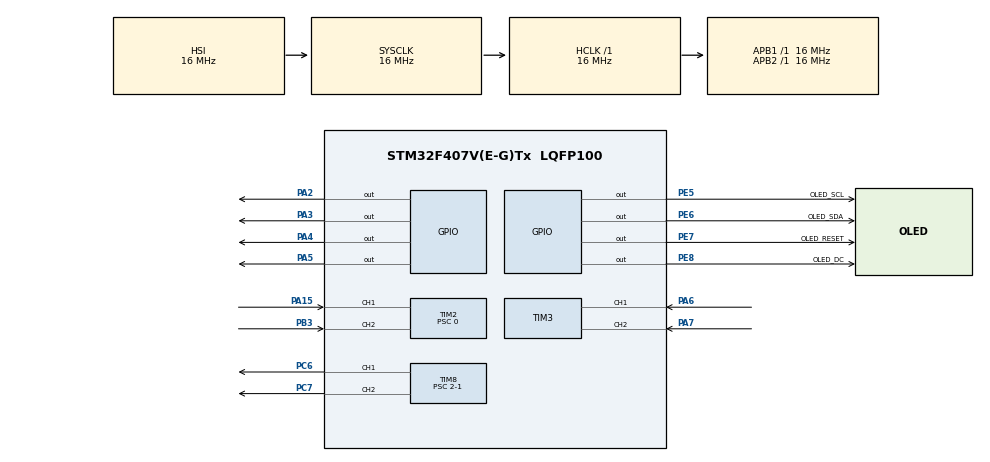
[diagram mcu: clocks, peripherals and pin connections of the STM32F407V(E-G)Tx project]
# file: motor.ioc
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FREERTOS.Tasks01=defaultTask,24,128,StartDefaultTask,Default,NULL,Dynamic,NULL,NULL;MotorTask,9,128,motor_task,Default,NULL,Dynamic,NULL,NULL;EncoderTask,10,128,encoder_task,Default,NULL,Dynamic,NULL,NULL;OLEDTask,8,128,oled_task,Default,NULL,Dynamic,NULL,NULL
FREERTOS.configUSE_NEWLIB_REENTRANT=1
Mcu.Family=STM32F4
Mcu.Name=STM32F407V(E-G)Tx
Mcu.Package=LQFP100
NVIC.PriorityGroup=NVIC_PRIORITYGROUP_4
NVIC.TIM6_DAC_IRQn=true\:15\:0\:false\:false\:true\:false\:false\:true
NVIC.TimeBase=TIM6_DAC_IRQn
NVIC.TimeBaseIP=TIM6
PA15.Signal=S_TIM2_CH1_ETR
PA2.GPIO_Speed=GPIO_SPEED_FREQ_HIGH
PA2.Signal=GPIO_Output
PA3.GPIO_Speed=GPIO_SPEED_FREQ_HIGH
PA3.Signal=GPIO_Output
PA4.Signal=GPIO_Output
PA5.Signal=GPIO_Output
PA6.Signal=S_TIM3_CH1
PA7.Signal=S_TIM3_CH2
PB3.Signal=S_TIM2_CH2
PC6.Signal=S_TIM8_CH1
PC7.Signal=S_TIM8_CH2
PE5.GPIO_Label=OLED_SCL
PE5.Signal=GPIO_Output
PE6.GPIO_Label=OLED_SDA
PE6.Signal=GPIO_Output
PE7.GPIO_Label=OLED_RESET
PE7.Signal=GPIO_Output
PE8.GPIO_Label=OLED_DC
PE8.Signal=GPIO_Output
ProjectManager.HeapSize=0x200
ProjectManager.StackSize=0x400
ProjectManager.TargetToolchain=STM32CubeIDE
RCC.AHBFreq_Value=16000000
RCC.APB1Freq_Value=16000000
RCC.APB2Freq_Value=16000000
RCC.CortexFreq_Value=16000000
RCC.HSE_VALUE=25000000
RCC.HSI_VALUE=16000000
RCC.LSE_VALUE=32768
RCC.SYSCLKFreq_VALUE=16000000
RCC.VCOOutputFreq_Value=192000000
SH.S_TIM2_CH1_ETR.0=TIM2_CH1,Encoder_Interface
SH.S_TIM2_CH2.0=TIM2_CH2,Encoder_Interface
SH.S_TIM3_CH1.0=TIM3_CH1,Encoder_Interface
SH.S_TIM3_CH2.0=TIM3_CH2,Encoder_Interface
SH.S_TIM8_CH1.0=TIM8_CH1,PWM Generation1 CH1
SH.S_TIM8_CH2.0=TIM8_CH2,PWM Generation2 CH2
TIM2.AutoReloadPreload=TIM_AUTORELOAD_PRELOAD_ENABLE
TIM2.EncoderMode=TIM_ENCODERMODE_TI12
TIM2.IC1Filter=10
TIM2.IC2Filter=10
TIM2.Period=65535
TIM2.Prescaler=0
TIM3.AutoReloadPreload=TIM_AUTORELOAD_PRELOAD_ENABLE
TIM3.EncoderMode=TIM_ENCODERMODE_TI12
TIM3.IC1Filter=10
TIM3.IC2Filter=10
TIM8.AutoReloadPreload=TIM_AUTORELOAD_PRELOAD_ENABLE
TIM8.Channel-PWM\ Generation1\ CH1=TIM_CHANNEL_1
TIM8.Channel-PWM\ Generation2\ CH2=TIM_CHANNEL_2
TIM8.Period=8000-1
TIM8.Prescaler=2-1
VP_FREERTOS_VS_CMSIS_V2.Mode=CMSIS_V2
VP_SYS_VS_tim6.Mode=TIM6
VP_TIM8_VS_ClockSourceINT.Mode=Internal
board=custom

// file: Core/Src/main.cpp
/* USER CODE BEGIN Header */
/**
  ******************************************************************************
  * @file           : main.c
  * @brief          : Main program body
  ******************************************************************************
  * @attention
  *
  * Copyright (c) 2022 STMicroelectronics.
  * All rights reserved.
  *
  * This software is licensed under terms that can be found in the LICENSE file
  * in the root directory of this software component.
  * If no LICENSE file comes with this software, it is provided AS-IS.
  *
  ******************************************************************************
  */
/* USER CODE END Header */
#include "main.h"
#include "cmsis_os.h"

/* USER CODE BEGIN PM */
#include "string.h"
#include "stdio.h"
#include "math.h"
#include "PIDController.h"
#include "oled.h"

volatile int encoder_A_ticks_delta = 0;
volatile int encoder_A_count_delta = 0;

volatile int encoder_B_ticks_delta;
volatile int encoder_B_count_delta;

// PID Constants
double consKp=2, consKi=0.02, consKd=0.25;

volatile double setpoint_right = 0;
volatile double output_right = 0;
volatile double input_right = 0;
PID rightMotorPID(&input_right, &output_right, &setpoint_right,
		consKp, consKi, consKd, PID_DIRECT);

volatile double setpoint_left = 0;
volatile double output_left = 0;
volatile double input_left = 0;
PID leftMotorPID(&input_left, &output_left, &setpoint_left,
		consKp, consKi, consKd, PID_DIRECT);

/* USER CODE END PM */

TIM_HandleTypeDef htim2;
TIM_HandleTypeDef htim3;
TIM_HandleTypeDef htim8;

/* Definitions for defaultTask */
osThreadId_t defaultTaskHandle;
const osThreadAttr_t defaultTask_attributes = {
  .name = "defaultTask",
  .stack_size = 128 * 4,
  .priority = (osPriority_t) osPriorityNormal,
};
/* Definitions for MotorTask */
osThreadId_t MotorTaskHandle;
const osThreadAttr_t MotorTask_attributes = {
  .name = "MotorTask",
  .stack_size = 128 * 4,
  .priority = (osPriority_t) osPriorityLow1,
};
/* Definitions for EncoderTask */
osThreadId_t EncoderTaskHandle;
const osThreadAttr_t EncoderTask_attributes = {
  .name = "EncoderTask",
  .stack_size = 128 * 4,
  .priority = (osPriority_t) osPriorityLow1,
};
/* Definitions for OLEDTask */
osThreadId_t OLEDTaskHandle;
const osThreadAttr_t OLEDTask_attributes = {
  .name = "OLEDTask",
  .stack_size = 128 * 4,
  .priority = (osPriority_t) osPriorityLow,
};
/* USER CODE BEGIN PV */
//volatile int encoder_A_reading;
/* USER CODE END PV */

void SystemClock_Config(void);
static void MX_GPIO_Init(void);
static void MX_TIM8_Init(void);
static void MX_TIM2_Init(void);
static void MX_TIM3_Init(void);
void StartDefaultTask(void *argument);
void motor_task(void *argument);
void encoder_task(void *argument);
void oled_task(void *argument);

/* USER CODE BEGIN 0 */
uint32_t calculate_RPM(int encoder_val, uint32_t ticks)
{
	float number_of_rev = encoder_val / 11;
	float time_taken_s = ticks / 1000;
	return (uint32_t)((number_of_rev / time_taken_s) * 60);
}
/* USER CODE END 0 */

int main(void)
{

  /* MCU Configuration--------------------------------------------------------*/

  /* Reset of all peripherals, Initializes the Flash interface and the Systick. */
  HAL_Init();

  /* Configure the system clock */
  SystemClock_Config();

  /* Initialize all configured peripherals */
  MX_GPIO_Init();
  MX_TIM8_Init();
  MX_TIM2_Init();
  MX_TIM3_Init();

  /* Init scheduler */
  osKernelInitialize();

  /* Create the thread(s) */
  /* creation of defaultTask */
  defaultTaskHandle = osThreadNew(StartDefaultTask, NULL, &defaultTask_attributes);

  /* creation of MotorTask */
//  MotorTaskHandle = osThreadNew(motor_task, NULL, &MotorTask_attributes);

  /* creation of EncoderTask */
  EncoderTaskHandle = osThreadNew(encoder_task, NULL, &EncoderTask_attributes);

  /* creation of OLEDTask */
  OLEDTaskHandle = osThreadNew(oled_task, NULL, &OLEDTask_attributes);

  /* Start scheduler */
  osKernelStart();

  /* We should never get here as control is now taken by the scheduler */
  /* Infinite loop */
  while (1)
  {

  }
}

void SystemClock_Config(void)
{
  RCC_OscInitTypeDef RCC_OscInitStruct = {0};
  RCC_ClkInitTypeDef RCC_ClkInitStruct = {0};

  /** Configure the main internal regulator output voltage
  */
  __HAL_RCC_PWR_CLK_ENABLE();
  __HAL_PWR_VOLTAGESCALING_CONFIG(PWR_REGULATOR_VOLTAGE_SCALE1);
  /** Initializes the RCC Oscillators according to the specified parameters
  * in the RCC_OscInitTypeDef structure.
  */
  RCC_OscInitStruct.OscillatorType = RCC_OSCILLATORTYPE_HSI;
  RCC_OscInitStruct.HSIState = RCC_HSI_ON;
  RCC_OscInitStruct.HSICalibrationValue = RCC_HSICALIBRATION_DEFAULT;
  RCC_OscInitStruct.PLL.PLLState = RCC_PLL_NONE;
  if (HAL_RCC_OscConfig(&RCC_OscInitStruct) != HAL_OK)
  {
    Error_Handler();
  }
  /** Initializes the CPU, AHB and APB buses clocks
  */
  RCC_ClkInitStruct.ClockType = RCC_CLOCKTYPE_HCLK|RCC_CLOCKTYPE_SYSCLK
                              |RCC_CLOCKTYPE_PCLK1|RCC_CLOCKTYPE_PCLK2;
  RCC_ClkInitStruct.SYSCLKSource = RCC_SYSCLKSOURCE_HSI;
  RCC_ClkInitStruct.AHBCLKDivider = RCC_SYSCLK_DIV1;
  RCC_ClkInitStruct.APB1CLKDivider = RCC_HCLK_DIV1;
  RCC_ClkInitStruct.APB2CLKDivider = RCC_HCLK_DIV1;

  if (HAL_RCC_ClockConfig(&RCC_ClkInitStruct, FLASH_LATENCY_0) != HAL_OK)
  {
    Error_Handler();
  }
}

static void MX_TIM2_Init(void)
{

  TIM_Encoder_InitTypeDef sConfig = {0};
  TIM_MasterConfigTypeDef sMasterConfig = {0};

  htim2.Instance = TIM2;
  htim2.Init.Prescaler = 0;
  htim2.Init.CounterMode = TIM_COUNTERMODE_UP;
  htim2.Init.Period = 65535;
  htim2.Init.ClockDivision = TIM_CLOCKDIVISION_DIV1;
  htim2.Init.AutoReloadPreload = TIM_AUTORELOAD_PRELOAD_ENABLE;
  sConfig.EncoderMode = TIM_ENCODERMODE_TI12;
  sConfig.IC1Polarity = TIM_ICPOLARITY_RISING;
  sConfig.IC1Selection = TIM_ICSELECTION_DIRECTTI;
  sConfig.IC1Prescaler = TIM_ICPSC_DIV1;
  sConfig.IC1Filter = 10;
  sConfig.IC2Polarity = TIM_ICPOLARITY_RISING;
  sConfig.IC2Selection = TIM_ICSELECTION_DIRECTTI;
  sConfig.IC2Prescaler = TIM_ICPSC_DIV1;
  sConfig.IC2Filter = 10;
  if (HAL_TIM_Encoder_Init(&htim2, &sConfig) != HAL_OK)
  {
    Error_Handler();
  }
  sMasterConfig.MasterOutputTrigger = TIM_TRGO_RESET;
  sMasterConfig.MasterSlaveMode = TIM_MASTERSLAVEMODE_DISABLE;
  if (HAL_TIMEx_MasterConfigSynchronization(&htim2, &sMasterConfig) != HAL_OK)
  {
    Error_Handler();
  }

}

static void MX_TIM3_Init(void)
{

  TIM_Encoder_InitTypeDef sConfig = {0};
  TIM_MasterConfigTypeDef sMasterConfig = {0};

  htim3.Instance = TIM3;
  htim3.Init.Prescaler = 0;
  htim3.Init.CounterMode = TIM_COUNTERMODE_UP;
  htim3.Init.Period = 65535;
  htim3.Init.ClockDivision = TIM_CLOCKDIVISION_DIV1;
  htim3.Init.AutoReloadPreload = TIM_AUTORELOAD_PRELOAD_ENABLE;
  sConfig.EncoderMode = TIM_ENCODERMODE_TI12;
  sConfig.IC1Polarity = TIM_ICPOLARITY_RISING;
  sConfig.IC1Selection = TIM_ICSELECTION_DIRECTTI;
  sConfig.IC1Prescaler = TIM_ICPSC_DIV1;
  sConfig.IC1Filter = 10;
  sConfig.IC2Polarity = TIM_ICPOLARITY_RISING;
  sConfig.IC2Selection = TIM_ICSELECTION_DIRECTTI;
  sConfig.IC2Prescaler = TIM_ICPSC_DIV1;
  sConfig.IC2Filter = 10;
  if (HAL_TIM_Encoder_Init(&htim3, &sConfig) != HAL_OK)
  {
    Error_Handler();
  }
  sMasterConfig.MasterOutputTrigger = TIM_TRGO_RESET;
  sMasterConfig.MasterSlaveMode = TIM_MASTERSLAVEMODE_DISABLE;
  if (HAL_TIMEx_MasterConfigSynchronization(&htim3, &sMasterConfig) != HAL_OK)
  {
    Error_Handler();
  }

}

static void MX_TIM8_Init(void)
{

  TIM_ClockConfigTypeDef sClockSourceConfig = {0};
  TIM_MasterConfigTypeDef sMasterConfig = {0};
  TIM_OC_InitTypeDef sConfigOC = {0};
  TIM_BreakDeadTimeConfigTypeDef sBreakDeadTimeConfig = {0};

  htim8.Instance = TIM8;
  htim8.Init.Prescaler = 2-1;
  htim8.Init.CounterMode = TIM_COUNTERMODE_UP;
  htim8.Init.Period = 8000-1;
  htim8.Init.ClockDivision = TIM_CLOCKDIVISION_DIV1;
  htim8.Init.RepetitionCounter = 0;
  htim8.Init.AutoReloadPreload = TIM_AUTORELOAD_PRELOAD_ENABLE;
  if (HAL_TIM_Base_Init(&htim8) != HAL_OK)
  {
    Error_Handler();
  }
  sClockSourceConfig.ClockSource = TIM_CLOCKSOURCE_INTERNAL;
  if (HAL_TIM_ConfigClockSource(&htim8, &sClockSourceConfig) != HAL_OK)
  {
    Error_Handler();
  }
  if (HAL_TIM_PWM_Init(&htim8) != HAL_OK)
  {
    Error_Handler();
  }
  sMasterConfig.MasterOutputTrigger = TIM_TRGO_RESET;
  sMasterConfig.MasterSlaveMode = TIM_MASTERSLAVEMODE_DISABLE;
  if (HAL_TIMEx_MasterConfigSynchronization(&htim8, &sMasterConfig) != HAL_OK)
  {
    Error_Handler();
  }
  sConfigOC.OCMode = TIM_OCMODE_PWM1;
  sConfigOC.Pulse = 0;
  sConfigOC.OCPolarity = TIM_OCPOLARITY_HIGH;
  sConfigOC.OCNPolarity = TIM_OCNPOLARITY_HIGH;
  sConfigOC.OCFastMode = TIM_OCFAST_DISABLE;
  sConfigOC.OCIdleState = TIM_OCIDLESTATE_RESET;
  sConfigOC.OCNIdleState = TIM_OCNIDLESTATE_RESET;
  if (HAL_TIM_PWM_ConfigChannel(&htim8, &sConfigOC, TIM_CHANNEL_1) != HAL_OK)
  {
    Error_Handler();
  }
  if (HAL_TIM_PWM_ConfigChannel(&htim8, &sConfigOC, TIM_CHANNEL_2) != HAL_OK)
  {
    Error_Handler();
  }
  sBreakDeadTimeConfig.OffStateRunMode = TIM_OSSR_DISABLE;
  sBreakDeadTimeConfig.OffStateIDLEMode = TIM_OSSI_DISABLE;
  sBreakDeadTimeConfig.LockLevel = TIM_LOCKLEVEL_OFF;
  sBreakDeadTimeConfig.DeadTime = 0;
  sBreakDeadTimeConfig.BreakState = TIM_BREAK_DISABLE;
  sBreakDeadTimeConfig.BreakPolarity = TIM_BREAKPOLARITY_HIGH;
  sBreakDeadTimeConfig.AutomaticOutput = TIM_AUTOMATICOUTPUT_DISABLE;
  if (HAL_TIMEx_ConfigBreakDeadTime(&htim8, &sBreakDeadTimeConfig) != HAL_OK)
  {
    Error_Handler();
  }
  HAL_TIM_MspPostInit(&htim8);

}

static void MX_GPIO_Init(void)
{
  GPIO_InitTypeDef GPIO_InitStruct = {0};

  /* GPIO Ports Clock Enable */
  __HAL_RCC_GPIOE_CLK_ENABLE();
  __HAL_RCC_GPIOA_CLK_ENABLE();
  __HAL_RCC_GPIOC_CLK_ENABLE();
  __HAL_RCC_GPIOB_CLK_ENABLE();

  /*Configure GPIO pin Output Level */
  HAL_GPIO_WritePin(GPIOE, OLED_SCL_Pin|OLED_SDA_Pin|OLED_RESET_Pin|OLED_DC_Pin, GPIO_PIN_RESET);

  /*Configure GPIO pin Output Level */
  HAL_GPIO_WritePin(GPIOA, GPIO_PIN_2|GPIO_PIN_3|GPIO_PIN_4|GPIO_PIN_5, GPIO_PIN_RESET);

  /*Configure GPIO pins : OLED_SCL_Pin OLED_SDA_Pin OLED_RESET_Pin OLED_DC_Pin */
  GPIO_InitStruct.Pin = OLED_SCL_Pin|OLED_SDA_Pin|OLED_RESET_Pin|OLED_DC_Pin;
  GPIO_InitStruct.Mode = GPIO_MODE_OUTPUT_PP;
  GPIO_InitStruct.Pull = GPIO_NOPULL;
  GPIO_InitStruct.Speed = GPIO_SPEED_FREQ_LOW;
  HAL_GPIO_Init(GPIOE, &GPIO_InitStruct);

  /*Configure GPIO pins : PA2 PA3 */
  GPIO_InitStruct.Pin = GPIO_PIN_2|GPIO_PIN_3;
  GPIO_InitStruct.Mode = GPIO_MODE_OUTPUT_PP;
  GPIO_InitStruct.Pull = GPIO_NOPULL;
  GPIO_InitStruct.Speed = GPIO_SPEED_FREQ_HIGH;
  HAL_GPIO_Init(GPIOA, &GPIO_InitStruct);

  /*Configure GPIO pins : PA4 PA5 */
  GPIO_InitStruct.Pin = GPIO_PIN_4|GPIO_PIN_5;
  GPIO_InitStruct.Mode = GPIO_MODE_OUTPUT_PP;
  GPIO_InitStruct.Pull = GPIO_NOPULL;
  GPIO_InitStruct.Speed = GPIO_SPEED_FREQ_LOW;
  HAL_GPIO_Init(GPIOA, &GPIO_InitStruct);

}

void StartDefaultTask(void *argument)
{
  for(;;)
  {
    osDelay(1);
  }
}

void motor_task(void *argument)
{
  /* USER CODE BEGIN motor_task */
//	uint16_t pwmVal = 0;
//	uint8_t direction = 0;

	HAL_TIM_PWM_Start(&htim8, TIM_CHANNEL_1);
	HAL_TIM_PWM_Start(&htim8, TIM_CHANNEL_2);

  	// Left Motor
	HAL_GPIO_WritePin(GPIOA, GPIO_PIN_2, GPIO_PIN_SET);
	HAL_GPIO_WritePin(GPIOA, GPIO_PIN_3, GPIO_PIN_RESET);
	// Right Motor
	HAL_GPIO_WritePin(GPIOA, GPIO_PIN_5, GPIO_PIN_SET);
	HAL_GPIO_WritePin(GPIOA, GPIO_PIN_4, GPIO_PIN_RESET);

	setpoint_right = 2640; // Ticks for 2 full wheel rotations

	// Start the PID
	rightMotorPID.SetMode(PID_AUTOMATIC);
  /* Infinite loop */
  for(;;)
  {
	  osDelay(1);
  }
  /* USER CODE END motor_task */
}

void encoder_task(void *argument)
{
  /* USER CODE BEGIN encoder_task */

	// Set up the encoders

	// Left Motor Encoder
	HAL_TIM_Encoder_Start(&htim2, TIM_CHANNEL_ALL);
	// Right Motor Encoder
	HAL_TIM_Encoder_Start(&htim3, TIM_CHANNEL_ALL);

	int encoder_A_count1, encoder_A_count2, encoder_B_count1, encoder_B_count2;
	int encoder_A_ticks1, encoder_A_ticks2, encoder_B_ticks1, encoder_B_ticks2;

	encoder_A_count1 = __HAL_TIM_GET_COUNTER(&htim2);
	encoder_A_ticks1 = HAL_GetTick();

	encoder_B_count1 = __HAL_TIM_GET_COUNTER(&htim3);
	encoder_B_ticks1 = HAL_GetTick();

	// Set up the Motors
	HAL_TIM_PWM_Start(&htim8, TIM_CHANNEL_1);
	HAL_TIM_PWM_Start(&htim8, TIM_CHANNEL_2);

  	// Left Motor
	HAL_GPIO_WritePin(GPIOA, GPIO_PIN_2, GPIO_PIN_SET);
	HAL_GPIO_WritePin(GPIOA, GPIO_PIN_3, GPIO_PIN_RESET);
	// Right Motor
	HAL_GPIO_WritePin(GPIOA, GPIO_PIN_5, GPIO_PIN_SET);
	HAL_GPIO_WritePin(GPIOA, GPIO_PIN_4, GPIO_PIN_RESET);

	setpoint_right = 1550 * 2; // Ticks for 2 full wheel rotations
	setpoint_left = 1550 * 2;

	// Start the PID
	rightMotorPID.SetMode(PID_AUTOMATIC);
	leftMotorPID.SetMode(PID_AUTOMATIC);

  /* Infinite loop */
  for(;;)
  {
	  	  encoder_A_count2 = __HAL_TIM_GET_COUNTER(&htim2);
	  	  encoder_A_ticks2 = HAL_GetTick();

	  	  encoder_B_count2 = __HAL_TIM_GET_COUNTER(&htim3);
	  	  encoder_B_ticks2 = HAL_GetTick();

	  	  // Calculate encoder A counter delta
	  	  if (__HAL_TIM_IS_TIM_COUNTING_DOWN(&htim2))
	  	  {
	  		  if (encoder_A_count2 <= encoder_A_count1)
	  		  {
	  			encoder_A_count_delta = encoder_A_count1 - encoder_A_count2;
	  		  }
	  		  else
	  		  {
	  			encoder_A_count_delta = (65535 - encoder_A_count2) + encoder_A_count1;
	  		  }
	  	  }
	  	  else
	  	  {
	  		if (encoder_A_count2 >= encoder_A_count1)
	  		{
	  			encoder_A_count_delta = encoder_A_count2 - encoder_A_count1;
	  		}
	  		else
	  		{
	  			encoder_A_count_delta = (65535 - encoder_A_count1) + encoder_A_count2;
	  		}
	  	  }
	  	  // Calculate ticks delta
	  	  encoder_A_ticks_delta = encoder_A_ticks2 - encoder_A_ticks1;

	  	  // Calculate encoder B counter delta
	  	  if (__HAL_TIM_IS_TIM_COUNTING_DOWN(&htim3))
	  	  {
	  		  if (encoder_B_count2 <= encoder_B_count1)
	  		  {
	  			encoder_B_count_delta = encoder_B_count1 - encoder_B_count2;
	  		  }
	  		  else
	  		  {
	  			encoder_B_count_delta = (65535 - encoder_B_count2) + encoder_B_count1;
	  		  }
	  	  }
	  	  else
	  	  {
	  		if (encoder_B_count2 >= encoder_B_count1)
	  		{
	  			encoder_B_count_delta = encoder_B_count2 - encoder_B_count1;
	  		}
	  		else
	  		{
	  			encoder_B_count_delta = (65535 - encoder_B_count1) + encoder_B_count2;
	  		}
	  	  }
	  	  // Calculate ticks delta
	  	  encoder_B_ticks_delta = encoder_B_ticks2 - encoder_B_ticks1;

	  	  input_right += encoder_B_count_delta;
	  	  input_left += encoder_A_count_delta;

	  	  // Set the PWM of right motor according to the PID controller
		  rightMotorPID.Compute(encoder_B_ticks_delta);
		  if (std::abs(setpoint_right - input_right) < 20)
		  {
			  input_right = setpoint_right;
			  output_right = 0;
			  // Stop the motor
			  __HAL_TIM_SetCompare(&htim8, TIM_CHANNEL_2, (uint16_t)output_right);
		  }
		  else
		  {
			  __HAL_TIM_SetCompare(&htim8, TIM_CHANNEL_2, (uint16_t)output_right);
		  }

	  	  // Set the PWM of left motor according to the PID controller
		  leftMotorPID.Compute(encoder_A_ticks_delta);
		  if (std::abs(setpoint_left - input_left) < 20)
		  {
			  input_left = setpoint_left;
			  output_left = 0;
			  // Stop the motor
			  __HAL_TIM_SetCompare(&htim8, TIM_CHANNEL_1, (uint16_t)output_left);
		  }
		  else
		  {
			  __HAL_TIM_SetCompare(&htim8, TIM_CHANNEL_1, (uint16_t)output_left);
		  }

	  	  // Restart the process again
	  	  encoder_A_count1 = __HAL_TIM_GET_COUNTER(&htim2);
	  	  encoder_A_ticks1 = HAL_GetTick();
	  	  encoder_B_count1 = __HAL_TIM_GET_COUNTER(&htim3);
	  	  encoder_B_ticks1 = HAL_GetTick();

		  osDelay(50);
  }
  /* USER CODE END encoder_task */
}

void oled_task(void *argument)
{
  /* USER CODE BEGIN oled_task */
	OLED_Init();
	int encoder_A_sum = 0;
	int encoder_B_sum = 0;
  /* Infinite loop */
  for(;;)
  {
	  encoder_A_sum += encoder_A_count_delta;
	  encoder_B_sum += encoder_B_count_delta;
	  char encoder_A_buffer[50];
	  char encoder_B_buffer[50];

	  int written_A_buffer_written = snprintf(
			  encoder_A_buffer,
			  50,
			  "A Sum: %d, PWM: %d End",
			  (int)input_left,
			  (int)output_left);

	  int written_B_buffer_written = snprintf(
			  encoder_B_buffer,
			  50,
			  "B Sum: %d, PWM: %d End",
			  (int)input_right,
			  (int)output_right);

	  if (written_A_buffer_written < 0 || written_A_buffer_written >= sizeof(encoder_A_buffer))
	  {
		  snprintf(encoder_A_buffer, 50, "A Buffer size too small!");
	  }

	  if (written_B_buffer_written < 0 || written_B_buffer_written >= sizeof(encoder_B_buffer))
	  {
		  snprintf(encoder_B_buffer, 50, "B Buffer size too small!");
	  }

	  OLED_ShowString(0, 0, (uint8_t*)encoder_A_buffer);
	  OLED_ShowString(0, 30, (uint8_t*)encoder_B_buffer);

	  OLED_Refresh_Gram();
	  osDelay(100);
  }
  /* USER CODE END oled_task */
}

void HAL_TIM_PeriodElapsedCallback(TIM_HandleTypeDef *htim)
{
  if (htim->Instance == TIM6) {
    HAL_IncTick();
  }
}

void Error_Handler(void)
{
  __disable_irq();
  while (1)
  {
  }
}
